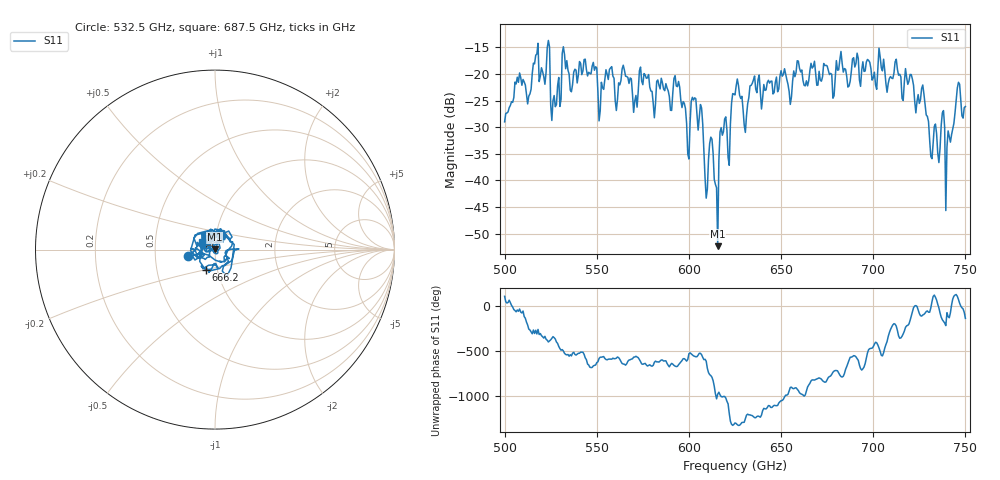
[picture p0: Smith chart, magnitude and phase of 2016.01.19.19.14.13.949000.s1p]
!Created with skrf (http://scikit-rf.org).
# GHz S RI R 50.0
!freq ReS11 ImS11
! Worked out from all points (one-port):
!   401 points, 500 GHz to 750 GHz, reference 50 ohm
!   lowest |S11| = -52.3 dB at 615.6 GHz (marker M1), VSWR 1.00, Z = 50 + j0.24 ohm
!   |S11| at or under -10 dB: start of sweep to end of sweep
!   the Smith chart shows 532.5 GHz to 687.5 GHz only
!   S11 on the Smith chart (normalised r, x): 532.5 GHz: 0.74, -0.06; 666.2 GHz: 0.88, -0.21; 687.5 GHz: 0.86, +0.07
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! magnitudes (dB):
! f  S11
! 500 GHz  -29.0
! 506.9 GHz  -20.6
! 513.1 GHz  -24.1
! 516.9 GHz  -16.5
! 523.1 GHz  -15.1
! 526.2 GHz  -25.0
! 531.2 GHz  -16.2
! 532.5 GHz  -16.3
! 548.8 GHz  -19.3
! 551.9 GHz  -26.9
! 562.5 GHz  -22.0
! 593.8 GHz  -22.4
! 615.6 GHz  -52.3
! 618.1 GHz  -31.5
! 621.9 GHz  -37.1
! 625 GHz  -23.9
! 630.6 GHz  -31.0
! 634.4 GHz  -21.8
! 656.2 GHz  -21.4
! 666.2 GHz  -18.0
! 687.5 GHz  -21.3
! 718.8 GHz  -21.9
! 727.5 GHz  -23.7
! 731.9 GHz  -35.9
! 737.5 GHz  -27.3
! 740.6 GHz  -30.7
! 745.6 GHz  -22.6
! 750 GHz  -26.1
